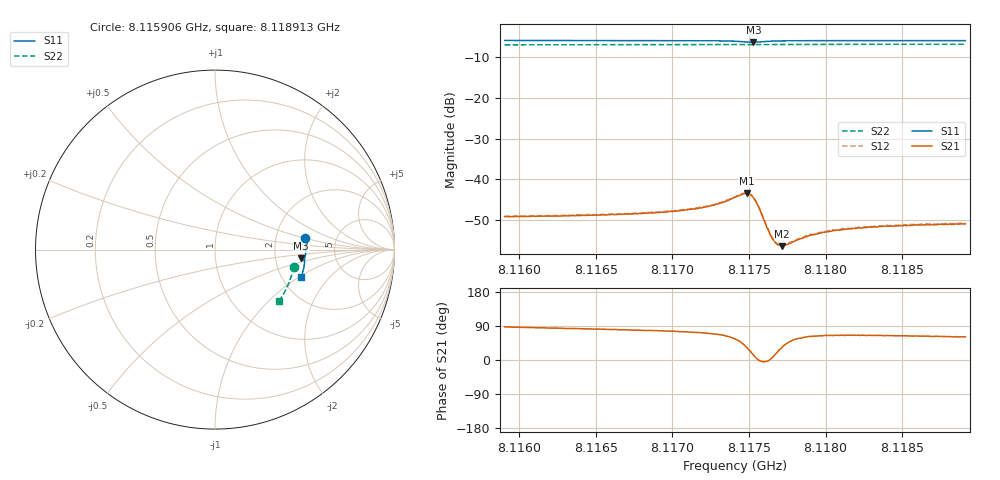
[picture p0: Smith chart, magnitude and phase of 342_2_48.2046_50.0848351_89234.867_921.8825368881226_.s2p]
#  HZ  S  RI  R  50.00
! Rohde & Schwarz Vector Network Analyzer
! Rohde-Schwarz,ZNB20-2Port,1311601062101988,3.16
! Created: UTC 3/20/2024, 11:51:20 AM
! freq[Hz]  re:S11  im:S11  re:S21  im:S21  re:S12  im:S12  re:S22  im:S22
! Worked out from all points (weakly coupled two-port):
!   401 points, 8.115906 GHz to 8.118913 GHz, reference 50 ohm
!   highest |S21| = -43.46 dB at 8.117485 GHz (marker M1); lowest = -56.4 dB at 8.117718 GHz (marker M2)
!   lowest |S11| = -6.3 dB at 8.11753 GHz (marker M3), VSWR 2.86, Z = 140 - j17.9 ohm
!   |S11| at or under -10 dB: nowhere
!   |S22| runs from -7.0 to -6.8 dB; largest |S21 - S12| = 0.0002
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8.1159061e9  0.5033 0.0651  0.00015 0.00349  0.000206 0.00354  0.4382 -0.0948
8.1164097e9  0.506 0.0273  0.000488 0.00358  0.000512 0.00363  0.4308 -0.129
8.1169133e9  0.5057 -0.0113  0.000896 0.00385  0.00094 0.00389  0.4207 -0.1626
8.1170937e9  0.5044 -0.0258  0.00115 0.00407  0.00119 0.00412  0.4163 -0.1744
8.1172065e9  0.503 -0.0356  0.00146 0.00432  0.00154 0.00435  0.4135 -0.1817
8.1173192e9  0.4999 -0.0461  0.00209 0.00469  0.00218 0.00475  0.4104 -0.1891
8.1174094e9  0.4938 -0.0548  0.00338 0.00498  0.00351 0.00501  0.4076 -0.1949
8.117447e9  0.4887 -0.0574  0.00439 0.00472  0.00456 0.00482  0.4065 -0.1973
8.1174846e9  0.4825 -0.0561  0.00556 0.00377  0.0057 0.00372  0.4052 -0.1993
8.1175071e9  0.4798 -0.0532  0.00596 0.00266  0.0061 0.00264  0.4045 -0.2006
8.1175297e9  0.4795 -0.0488  0.00579 0.00136  0.00589 0.00129  0.404 -0.2018
8.1175598e9  0.4833 -0.0446  0.00477 0.000106  0.00483 4.97e-05  0.4034 -0.2034
8.1176274e9  0.4936 -0.0471  0.00237 -9.29e-05  0.00242 -8.76e-05  0.4019 -0.2078
8.1176575e9  0.496 -0.0504  0.0018 0.000258  0.00184 0.000264  0.4012 -0.2098
8.1176875e9  0.4975 -0.0539  0.00146 0.000571  0.00149 0.000555  0.4005 -0.2118
8.1177176e9  0.4985 -0.0572  0.00126 0.000836  0.00131 0.000871  0.3995 -0.2136
8.1177477e9  0.4989 -0.0604  0.00113 0.0011  0.00117 0.00108  0.3985 -0.2157
8.117883e9  0.4988 -0.0731  0.000953 0.00176  0.000986 0.0018  0.3944 -0.2243
8.117913e9  0.4986 -0.0757  0.000946 0.00185  0.000992 0.00188  0.3933 -0.2261
8.118116e9  0.4963 -0.0922  0.00101 0.00222  0.00108 0.00224  0.3865 -0.2387
8.1184167e9  0.4913 -0.1151  0.00116 0.00239  0.00121 0.00243  0.3756 -0.2569
8.1189128e9  0.4813 -0.1509  0.00138 0.00249  0.00143 0.00256  0.3562 -0.2856
